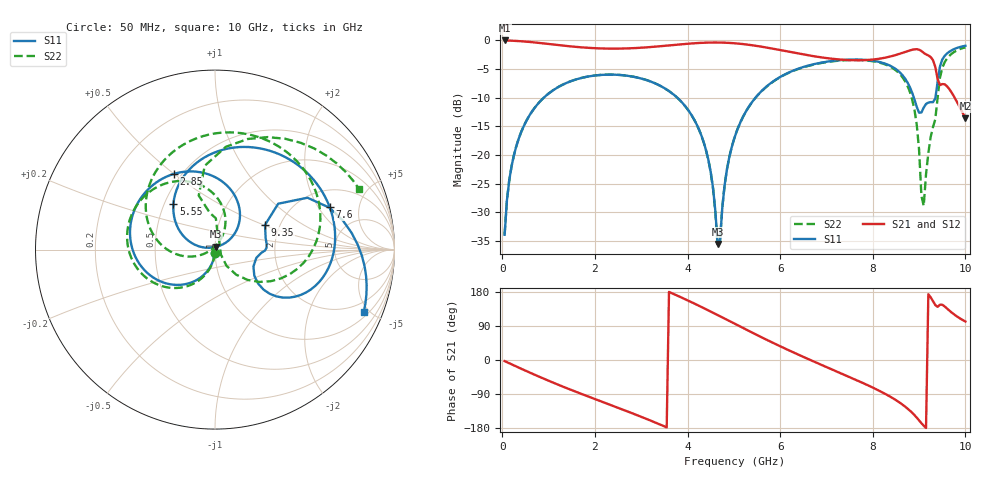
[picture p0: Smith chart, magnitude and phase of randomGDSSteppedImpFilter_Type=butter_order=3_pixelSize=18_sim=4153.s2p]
! freq	dB(S11)	phase(S11)	dB(S12)	phase(S12)
!  dB(S21)	phase(S21)	dB(S22)	phase(S22)
!S-par simulation data
#  GHz  S  DB  R 50
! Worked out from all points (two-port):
!   200 points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, 50 MHz to 10 GHz, reference 50 ohm
!   highest |S21| = 0.00 dB at 50 MHz (marker M1); lowest = -13.6 dB at 10 GHz (marker M2)
!   |S21| within 3 dB of the highest: start of sweep to 6.93 GHz; 8.271 GHz to 9.26 GHz (989.1 MHz wide, 11.3 % of centre)
!   lowest |S11| = -35.5 dB at 4.65 GHz (marker M3), VSWR 1.03, Z = 50.6 + j1.59 ohm
!   |S11| at or under -10 dB: start of sweep to 895.8 MHz; 3.778 GHz to 5.467 GHz (1.689 GHz wide, 36.5 % of centre); 8.887 GHz to 9.353 GHz (465.2 MHz wide, 5.1 % of centre)
!   |S22| runs from -35.9 to -1.2 dB; largest |S21 - S12| = 0
!   S11 on the Smith chart (normalised r, x): 50 MHz: 1.00, -0.04; 2.85 GHz: 0.45, +0.50; 5.55 GHz: 0.56, +0.32; 7.6 GHz: 2.85, +2.54; 9.35 GHz: 1.67, +0.51; 10 GHz: 1.30, -4.66
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0.05  -33.93 -93.0  -0.00 -2.9  -0.00 -2.9  -33.93 -92.7
0.2  -21.97 -102.3  -0.05 -11.4  -0.05 -11.4  -21.96 -101.2
0.5  -14.35 -120.0  -0.20 -28.1  -0.20 -28.1  -14.35 -117.3
1.75  -6.47 173.1  -1.23 -91.4  -1.23 -91.4  -6.46 -177.1
2.85  -6.37 118.7  -1.34 -142.7  -1.34 -142.7  -6.36 135.4
3.4  -7.87 89.9  -1.02 -169.9  -1.02 -169.9  -7.87 110.5
4.3  -16.61 40.1  -0.42 139.9  -0.42 139.9  -16.64 67.1
4.5  -22.94 32.9  -0.37 127.8  -0.37 127.8  -23.01 61.2
4.65  -35.52 69.5  -0.36 118.6  -0.36 118.6  -35.92 99.7
4.85  -22.57 169.3  -0.41 106.2  -0.41 106.2  -22.54 -159.0
5.05  -16.13 161.6  -0.52 93.7  -0.52 93.7  -16.12 -165.6
5.55  -9.24 132.1  -1.03 62.9  -1.03 62.9  -9.26 167.9
6.7  -4.20 66.2  -2.72 -2.6  -2.72 -2.6  -4.26 106.2
7.6  -3.33 20.5  -3.46 -50.4  -3.46 -50.4  -3.41 58.6
8.35  -4.32 -17.2  -2.86 -94.9  -2.86 -94.9  -4.47 12.3
8.85  -9.12 -39.5  -1.63 -139.2  -1.63 -139.2  -10.27 -36.0
9.1  -11.72 -3.9  -2.17 -173.3  -2.17 -173.3  -28.88 43.4
9.2  -10.85 1.7  -2.63 173.6  -2.63 173.6  -19.65 82.9
9.35  -10.16 26.3  -4.62 144.9  -4.62 144.9  -13.75 97.9
9.45  -4.57 29.3  -7.79 145.8  -7.79 145.8  -6.54 96.9
9.6  -2.30 6.9  -7.97 136.1  -7.97 136.1  -3.20 64.9
10  -0.93 -22.6  -13.60 101.6  -13.60 101.6  -1.20 22.7
